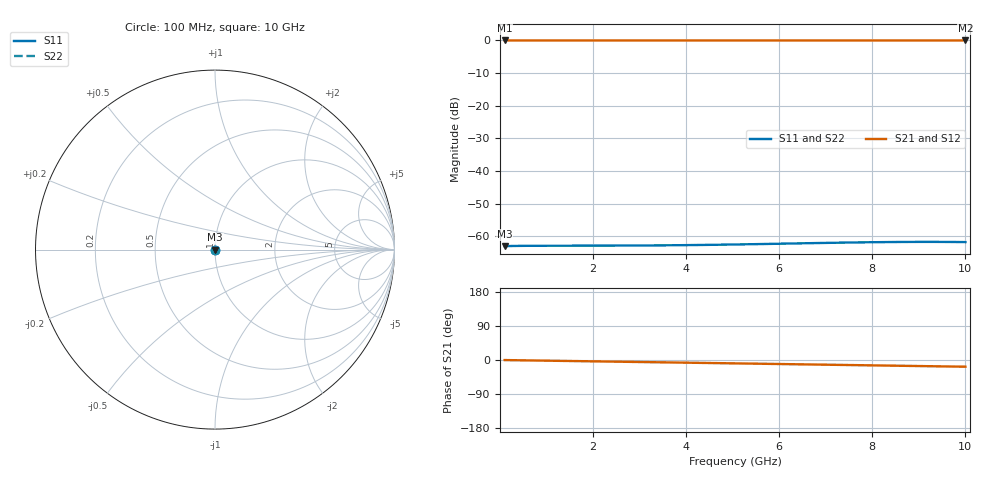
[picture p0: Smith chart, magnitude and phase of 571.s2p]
# Hz S RI R 50.00
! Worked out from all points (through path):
!   100 points, 100 MHz to 10 GHz, reference 50 ohm
!   highest |S21| = -0.01 dB at 100 MHz (marker M1); lowest = 0.0 dB at 10 GHz (marker M2)
!   group delay of S21, straight-line fit = 4.93 ps
!   lowest |S11| = -63.0 dB at 100 MHz (marker M3), VSWR 1.00, Z = 50.1 - j0.000547 ohm
!   |S11| at or under -10 dB: start of sweep to end of sweep
!   |S22| runs from -63.0 to -61.7 dB; largest |S21 - S12| = 0
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1e8  0.000706 -5.46e-06  0.9993 -0.00307  0.9993 -0.00307  0.000706 -5.46e-06
2e8  0.000709 -1.1e-05  0.9993 -0.00614  0.9993 -0.00614  0.000709 -1.1e-05
3e8  0.000711 -1.66e-05  0.9992 -0.0092  0.9992 -0.0092  0.000711 -1.66e-05
6e8  0.000714 -3.37e-05  0.9991 -0.0184  0.9991 -0.0184  0.000714 -3.37e-05
1e9  0.000714 -5.77e-05  0.9988 -0.0307  0.9988 -0.0307  0.000714 -5.77e-05
1.8e9  0.000709 -0.000111  0.9977 -0.0552  0.9977 -0.0552  0.000709 -0.000111
2.7e9  0.000699 -0.000178  0.9958 -0.0828  0.9958 -0.0828  0.000699 -0.000178
3.4e9  0.000687 -0.000235  0.9937 -0.1043  0.9937 -0.1043  0.000687 -0.000235
3.8e9  0.000678 -0.000269  0.9924 -0.1166  0.9924 -0.1166  0.000678 -0.000269
4.2e9  0.000669 -0.000303  0.9908 -0.1288  0.9908 -0.1288  0.000669 -0.000303
4.6e9  0.000659 -0.000338  0.9892 -0.141  0.9892 -0.141  0.000659 -0.000338
5.1e9  0.000645 -0.000382  0.9868 -0.1563  0.9868 -0.1563  0.000645 -0.000382
5.9e9  0.000621 -0.00045  0.9826 -0.1807  0.9826 -0.1807  0.000621 -0.00045
6.7e9  0.000594 -0.000514  0.9778 -0.2051  0.9778 -0.2051  0.000594 -0.000514
7.2e9  0.000576 -0.000549  0.9745 -0.2202  0.9745 -0.2202  0.000576 -0.000549
7.6e9  0.000562 -0.000575  0.9717 -0.2324  0.9717 -0.2324  0.000562 -0.000575
8e9  0.000548 -0.000598  0.9687 -0.2444  0.9687 -0.2444  0.000548 -0.000598
8.4e9  0.000534 -0.000617  0.9656 -0.2565  0.9656 -0.2565  0.000534 -0.000617
8.8e9  0.000521 -0.000633  0.9623 -0.2685  0.9623 -0.2685  0.000521 -0.000633
9.2e9  0.000509 -0.000644  0.9589 -0.2805  0.9589 -0.2805  0.000509 -0.000644
9.6e9  0.000497 -0.000651  0.9553 -0.2925  0.9553 -0.2925  0.000497 -0.000651
1e10  0.000488 -0.000653  0.9515 -0.3045  0.9515 -0.3045  0.000488 -0.000653
